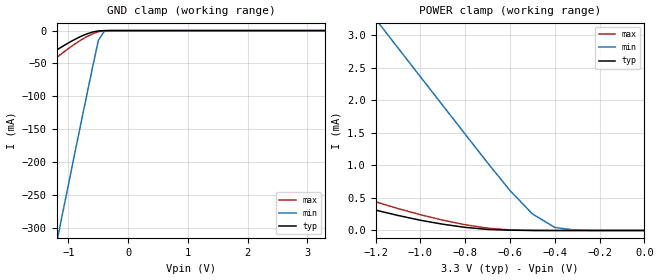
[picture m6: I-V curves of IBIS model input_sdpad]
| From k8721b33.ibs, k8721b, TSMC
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|   Model input_sdpad
[Model]   input_sdpad
Model_type   Input
Polarity   Non-Inverting
Vinl =   0.8V
Vinh =   2.0V
C_comp   1.97e-12F   2.22e-12F   1.81e-12F
[Temperature Range]   25   125   0
[Voltage Range]   3.30V   3.00V   3.60V
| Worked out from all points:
|   GND clamp passes 1 mA (typ) near -0.53 V on its own axis
|   POWER clamp passes 1 mA (typ) near -1.87 V on its own axis
[POWER_clamp]
| voltage   I(typ)   I(min)   I(max)
-3.3V     2.775mA    12.54mA    3.263mA
-3.2V     2.648mA    12.1mA     3.124mA
-3.1V     2.521mA    11.66mA    2.985mA
-1.9V     1.035mA    6.341mA    1.308mA
-1.2V     312.4uA    3.246mA    440.3uA
-1.1V     230.6uA    2.804mA    336.6uA
-800mV    47.65uA    1.479mA    88.26uA
-600mV    4.193uA    613.7uA    7.865uA
-500mV    635.8nA    254.8uA    747.9nA
-400mV    18.96nA    46.05uA    37.45nA
-300mV    1.01nA     3.226uA    2.288nA
0V        415.1pA    17.88nA    961.6pA
[GND_clamp]
| voltage   I(typ)   I(min)   I(max)
-3.3V     -150.7mA   -1.277A    -178.7mA
-2.9V     -130.8mA   -1.097A    -157.1mA
-2.4V     -103mA     -869.5mA   -126.3mA
-1.9V     -72.66mA   -641.6mA   -91.94mA
-1.2V     -29.73mA   -323.5mA   -41.06mA
-1.1V     -24.06mA   -278.4mA   -34.03mA
-800mV    -9.163mA   -144.6mA   -14.88mA
-600mV    -2.29mA    -57.4mA    -5.082mA
-500mV    -548.1uA   -14.87mA   -1.82mA
-400mV    -57.7uA    -957.7uA   -286.4uA
3.3V      415.1pA    3.226uA    795.7pA
